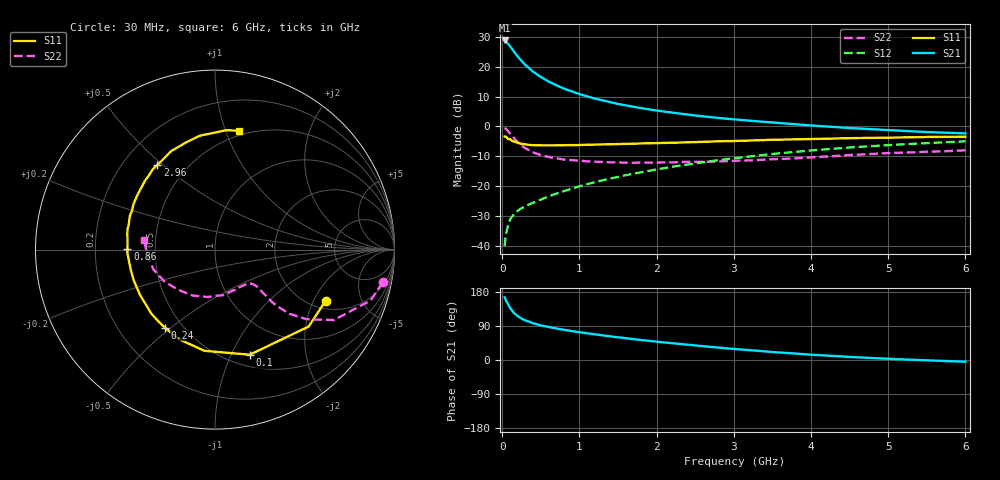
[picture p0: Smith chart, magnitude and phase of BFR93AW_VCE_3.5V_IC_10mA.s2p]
! Infineon Technologies  Discrete & RF Semiconductors
! BFR93AW
! VCE =  3.5 V,  IC =  10 mA
! Common Emitter S-Parameters:  Nov 2015
# GHz  S  MA  R  50
!  f  S11  S21  S12  S22
! GHz  MAG  ANG  MAG  ANG  MAG  ANG  MAG  ANG
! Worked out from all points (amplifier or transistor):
!   206 points, 30 MHz to 6 GHz, reference 50 ohm
!   highest |S21| = 28.8 dB at 30 MHz (marker M1)
!   |S21| within 3 dB of that: start of sweep to 130.8 MHz
!   unconditionally stable (mu >= 1): 737.3 MHz to 2.266 GHz
!   at 200 MHz: K = 0.49, MSG = 25.8 dB, |S12| = -28.2 dB
!   at 1.56 GHz: K = 1.06, MAG = 10.3 dB, |S12| = -16.5 dB
!   at 6 GHz: K = 0.92, MSG = 1.3 dB, |S12| = -5.0 dB
!   S11 on the Smith chart (normalised r, x): 30 MHz: 2.35, -2.50; 100 MHz: 0.62, -1.18; 240 MHz: 0.40, -0.48; 860 MHz: 0.34, +0.00; 2.96 GHz: 0.34, +0.48; 6 GHz: 0.46, +1.11
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0.03  0.6792 -24.9  27.41 165.3  0.01 77.0  0.9518 -11.1
0.05  0.6753 -39.4  26.48 155.6  0.0164 72.1  0.9123 -18.1
0.1  0.6169 -71.7  22.14 137.1  0.0278 61.7  0.7697 -30.7
0.15  0.5669 -96.0  17.9 124.2  0.0345 54.9  0.6392 -37.3
0.2  0.538 -112.1  14.76 115.5  0.039 52.8  0.5466 -40.8
0.24  0.5162 -122.7  12.83 110.5  0.0424 51.9  0.4907 -41.8
0.26  0.5104 -127.3  12.01 108.2  0.0439 51.8  0.4677 -42.2
0.3  0.5032 -134.9  10.63 104.2  0.0469 52.4  0.4318 -42.6
0.4  0.488 -149.1  8.209 96.8  0.0533 54.4  0.3685 -42.1
0.5  0.4841 -159.0  6.702 91.2  0.0601 56.2  0.3311 -41.7
0.6  0.4827 -166.1  5.636 86.9  0.068 58.6  0.3094 -41.4
0.7  0.4839 -172.6  4.886 83.0  0.0756 60.4  0.2942 -41.8
0.86  0.4878 179.6  4.021 77.7  0.0884 62.8  0.2767 -43.3
1.04  0.492 172.3  3.357 72.1  0.1036 64.0  0.265 -45.8
1.2  0.5006 166.7  2.927 67.6  0.1173 65.0  0.2585 -48.9
1.5  0.5106 158.3  2.381 59.9  0.1441 65.6  0.2519 -55.9
2.02  0.5293 144.5  1.832 47.9  0.1938 64.2  0.2506 -70.6
2.96  0.5705 124.3  1.328 29.9  0.29 58.2  0.2654 -97.5
3.1  0.5762 121.4  1.281 27.7  0.3045 56.8  0.2685 -102.2
4.1  0.6217 103.7  1.02 12.9  0.4072 46.6  0.3096 -136.8
5.1  0.6535 89.6  0.857 2.3  0.4968 35.0  0.3624 -165.1
6  0.6748 78.8  0.768 -4.5  0.5652 24.9  0.3996 172.0
